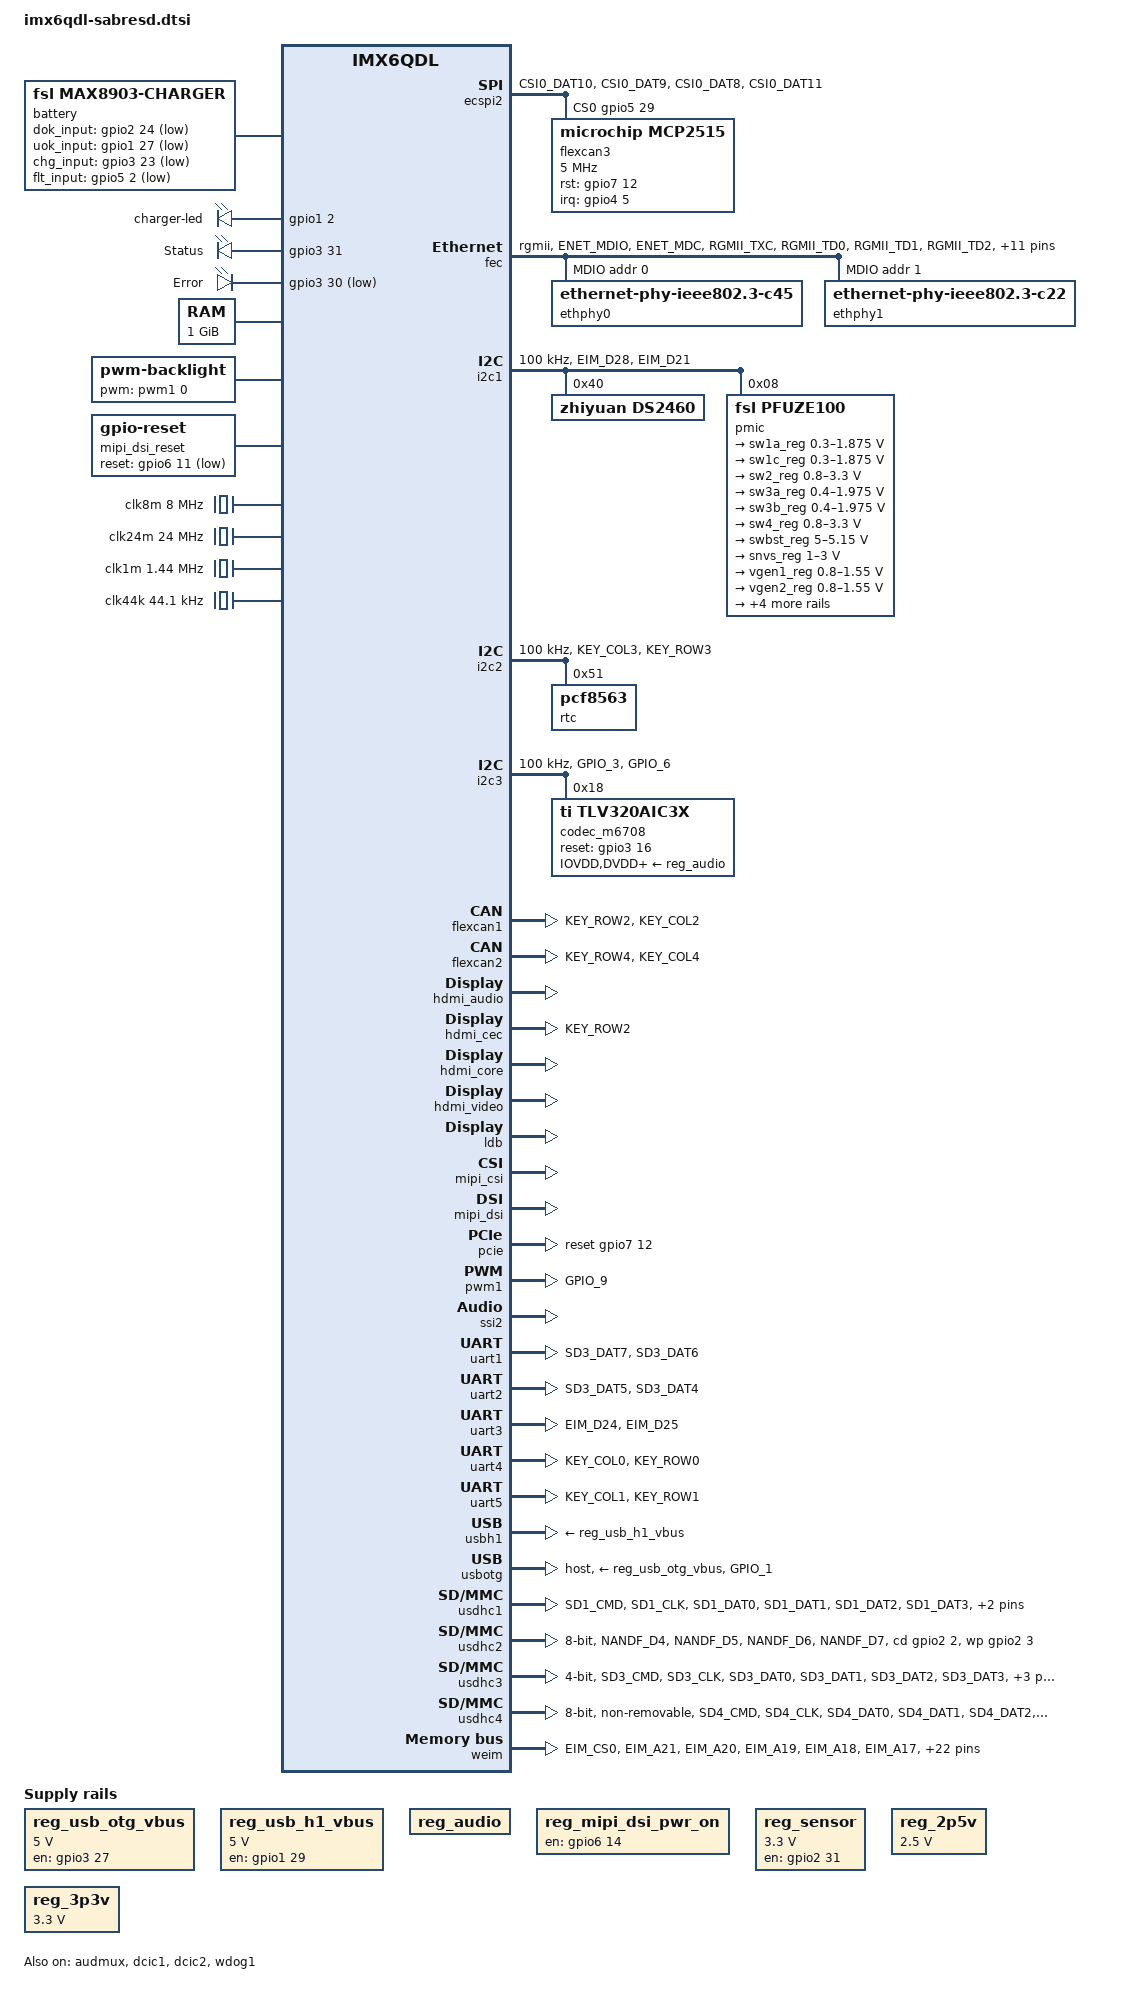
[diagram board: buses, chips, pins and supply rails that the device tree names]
/*
 * Copyright 2012 Freescale Semiconductor, Inc.
 * Copyright 2011 Linaro Ltd.
 *
 * The code contained herein is licensed under the GNU General Public
 * License. You may obtain a copy of the GNU General Public License
 * Version 2 or later at the following locations:
 *
 * http://www.opensource.org/licenses/gpl-license.html
 * http://www.gnu.org/copyleft/gpl.html
 */

#include <dt-bindings/input/input.h>

/ {
	aliases {
		mxcfb0 = &mxcfb1;
		mxcfb1 = &mxcfb2;
		mxcfb2 = &mxcfb3;
		mxcfb3 = &mxcfb4;
	};

	battery: max8903@0 {
		compatible = "fsl,max8903-charger";
		pinctrl-names = "default";
		dok_input = <&gpio2 24 1>;
		uok_input = <&gpio1 27 1>;
		chg_input = <&gpio3 23 1>;
		flt_input = <&gpio5 2 1>;
		fsl,dcm_always_high;
		fsl,dc_valid;
		fsl,usb_valid;
		status = "okay";
	};

	leds {
		compatible = "gpio-leds";

		charger-led {
			gpios = <&gpio1 2 0>;
			linux,default-trigger = "max8903-charger-charging";
			retain-state-suspended;
		};

		system-led {
			label = "Status";
			gpios = <&gpio3 31 0>;
			linux,default-trigger = "heartbeat";
		};

		error-led {
			label = "Error";
			gpios = <&gpio3 30 1>;
			linux,default-status = "default-on";
		};
	};

	memory {
		reg = <0x10000000 0x40000000>;
	};

	regulators {
		compatible = "simple-bus";
		#address-cells = <1>;
		#size-cells = <0>;

		reg_usb_otg_vbus: regulator@0 {
			compatible = "regulator-fixed";
			reg = <0>;
			regulator-name = "usb_otg_vbus";
			regulator-min-microvolt = <5000000>;
			regulator-max-microvolt = <5000000>;
			gpio = <&gpio3 27 0>;
			enable-active-high;
		};

		reg_usb_h1_vbus: regulator@1 {
			compatible = "regulator-fixed";
			reg = <1>;
			regulator-name = "usb_h1_vbus";
			regulator-min-microvolt = <5000000>;
			regulator-max-microvolt = <5000000>;
			gpio = <&gpio1 29 0>;
			enable-active-high;
		};

		reg_audio: regulator@2 {
			compatible = "regulator-fixed";
			reg = <2>;
			regulator-name = "tlv320aic3x-supply";
			enable-active-high;
		};

		reg_mipi_dsi_pwr_on: mipi_dsi_pwr_on {
			compatible = "regulator-fixed";
			regulator-name = "mipi_dsi_pwr_on";
			gpio = <&gpio6 14 0>;
			enable-active-high;
		};

		reg_sensor: regulator@3 {
			compatible = "regulator-fixed";
			reg = <3>;
			regulator-name = "sensor-supply";
			regulator-min-microvolt = <3300000>;
			regulator-max-microvolt = <3300000>;
			gpio = <&gpio2 31 0>;
			startup-delay-us = <500>;
			enable-active-high;
		};

		reg_2p5v: regulator@4 {
			  compatible = "regulator-fixed";
			  reg = <4>;
			  regulator-name = "2P5V";
			  regulator-min-microvolt = <2500000>;
			  regulator-max-microvolt = <2500000>;
			  regulator-always-on;
		};

		reg_3p3v: regulator@5 {
			  compatible = "regulator-fixed";
			  reg = <5>;
			  regulator-name = "3P3V";
			  regulator-min-microvolt = <3300000>;
			  regulator-max-microvolt = <3300000>;
			  regulator-always-on;
		};

	};

	sound {
		compatible = "fsl,imx-audio-tlv320aic3x";
		model = "tlv320aic3x-audio";
		cpu-dai = <&ssi2>;
		audio-codec = <&codec_m6708>;
		audio-routing =
			"Headphone Jack", "HPLOUT", 
			"Headphone Jack", "HPROUT";
		mux-int-port = <2>;
		mux-ext-port = <3>;
		//mic-det-gpios = <&gpio1 14 GPIO_ACTIVE_LOW>;
		status = "okay";
	};

	sound-hdmi {
		compatible = "fsl,imx6q-audio-hdmi",
			     "fsl,imx-audio-hdmi";
		model = "imx-audio-hdmi";
		hdmi-controller = <&hdmi_audio>;
	};

	mxcfb1: fb@0 {
		compatible = "fsl,mxc_sdc_fb";
		disp_dev = "ldb";
		interface_pix_fmt = "RGB666";
		mode_str ="CLAA-WVGA";
		default_bpp = <18>;
		int_clk = <0>;
		late_init = <0>;
		status = "okay";
	};

	mxcfb2: fb@1 {
		compatible = "fsl,mxc_sdc_fb";
		disp_dev = "hdmi";
		interface_pix_fmt = "RGB666";
		mode_str ="CLAA-WVGA";
		default_bpp = <18>;
		int_clk = <0>;
		late_init = <0>;
		status = "disabled";
	};

	mxcfb3: fb@2 {
		compatible = "fsl,mxc_sdc_fb";
		disp_dev = "lcd";
		interface_pix_fmt = "RGB666";
		mode_str ="CLAA-WVGA";
		default_bpp = <18>;
		int_clk = <0>;
		late_init = <0>;
		status = "disabled";
	};

	mxcfb4: fb@3 {
		compatible = "fsl,mxc_sdc_fb";
		disp_dev = "ldb";
		interface_pix_fmt = "RGB666";
		mode_str ="CLAA-WVGA";
		default_bpp = <18>;
		int_clk = <0>;
		late_init = <0>;
		status = "disabled";
	};

	lcd@0 {
		compatible = "fsl,lcd";
		ipu_id = <0>;
		disp_id = <0>;
		default_ifmt = "RGB666";
		pinctrl-names = "default";
		pinctrl-0 = <&pinctrl_ipu1>;
		status = "okay";
	};

	backlight {
		compatible = "pwm-backlight";
		pwms = <&pwm1 0 5000000>;
		brightness-levels = <0 4 8 16 32 64 128 255>;
		default-brightness-level = <7>;
		status = "okay";
	};

	/*
	buzzer {
		compatible = "pwm-beeper";
		pwms = <&pwm1 0 5000000 0>;
		status = "okay";
	};
	*/

	v4l2_cap_0 {
		compatible = "fsl,imx6q-v4l2-capture";
		ipu_id = <0>;
		csi_id = <0>;
		mclk_source = <0>;
		status = "okay";
	};

	v4l2_cap_1 {
		compatible = "fsl,imx6q-v4l2-capture";
		ipu_id = <0>;
		csi_id = <1>;
		mclk_source = <0>;
		status = "okay";
	};

	v4l2_out {
		compatible = "fsl,mxc_v4l2_output";
		status = "okay";
	};

	mipi_dsi_reset: mipi-dsi-reset {
		compatible = "gpio-reset";
		reset-gpios = <&gpio6 11 GPIO_ACTIVE_LOW>;
		reset-delay-us = <50>;
		#reset-cells = <0>;
	};
};

&audmux {
	pinctrl-names = "default";
	pinctrl-0 = <&pinctrl_audmux>;
	status = "okay";
};

&cpu0 {
	arm-supply = <&sw1a_reg>;
	soc-supply = <&sw1c_reg>;
};

&ecspi2 {
	fsl,spi-num-chipselects = <1>;
	cs-gpios = <&gpio5 29 0>;
	pinctrl-names = "default";
	pinctrl-0 = <&pinctrl_ecspi2>;
	interrupts = <0 32 IRQ_TYPE_EDGE_FALLING>;
	status = "okay";
	//dmas = <&sdma 43 1 0>,
	//       <&sdma 44 1 0>;
	//dma-names = "rx", "tx";
	flexcan3: can@0 {
		reg = <0>;      /* CS0 */
		compatible = "microchip,mcp2515";
		clocks = <&clk8m>;
		//interrupt-parent = <&gpio4>;
		//interrupts = <0 5 IRQ_TYPE_LEVEL_HIGH>;
		interrupts-extended = <&gpio4 5 4>;
		spi-max-frequency = <5000000>;
		rst-gpios = <&gpio7 12 0>;
		status = "okay";
		//vdd-supply = <&reg_3p3v>;
		//xceiver-supply = <&reg_3p3v>;
	};
};
/{
	clocks {
       	/* Fixed crystal dedicated to mcp251x */
		clk8m: clk@1 {
			compatible = "fixed-clock";
			reg = <1>;
			#clock-cells = <0>;
			clock-frequency = <8000000>;
			clock-output-names = "clk8m";
		};
		clk24m: clk@2 {
			compatible = "fixed-clock";
			reg = <2>;
			#clock-cells = <0>;
			clock-frequency = <24000000>;
			clock-output-names = "clk24m";
		};
		clk1m: clk@3 {
			compatible = "fixed-clock";
			reg = <3>;
			#clock-cells = <0>;
			clock-frequency = <1440000>;
			clock-output-names = "clk1m";
		};
		clk44k: clk@4 {
			compatible = "fixed-clock";
			reg = <4>;
			#clock-cells = <0>;
			clock-frequency = <44100>;
			clock-output-names = "clk44k";
		};
		osc {
			compatible = "fsl,imx-osc", "fixed-clock", "mclk","bclk","wclk";
			status = "okay";
		};
	};
	soc{
		aips-bus@02000000 {
			clks: ccm@020c4000 {
				status = "okay";
			};
		};
	};
};
&fec {
	pinctrl-names = "default";
	pinctrl-0 = <&pinctrl_enet>;
	phy-mode = "rgmii";
	phy-reset-gpios = <&gpio1 25 0>;
	fsl,magic-packet;
	status = "okay";
      mdio {
                #address-cells = <1>;
                #size-cells = <0>;

              ethphy0: ethernet-phy@0 {
                        compatible = "ethernet-phy-ieee802.3-c45";
                        reg = <0>;
                };

                ethphy1: ethernet-phy@1 {
                        compatible = "ethernet-phy-ieee802.3-c22";
                        reg = <1>;
                };
        }; 
};

&i2c1 {
	clock-frequency = <100000>;
	pinctrl-names = "default";
	pinctrl-0 = <&pinctrl_i2c1>;
	status = "okay";

	ds2460@40{
		compatible = "zhiyuan,ds2460";
		reg = <0x40>;
	};

	pmic: pfuze100@08 {
		compatible = "fsl,pfuze100";
		reg = <0x08>;

		regulators {
			sw1a_reg: sw1ab {
				regulator-min-microvolt = <300000>;
				regulator-max-microvolt = <1875000>;
				regulator-boot-on;
				regulator-always-on;
				regulator-ramp-delay = <6250>;
			};

			sw1c_reg: sw1c {
				regulator-min-microvolt = <300000>;
				regulator-max-microvolt = <1875000>;
				regulator-boot-on;
				regulator-always-on;
				regulator-ramp-delay = <6250>;
			};

			sw2_reg: sw2 {
				regulator-min-microvolt = <800000>;
				regulator-max-microvolt = <3300000>;
				regulator-boot-on;
				regulator-always-on;
			};

			sw3a_reg: sw3a {
				regulator-min-microvolt = <400000>;
				regulator-max-microvolt = <1975000>;
				regulator-boot-on;
				regulator-always-on;
			};

			sw3b_reg: sw3b {
				regulator-min-microvolt = <400000>;
				regulator-max-microvolt = <1975000>;
				regulator-boot-on;
				regulator-always-on;
			};

			sw4_reg: sw4 {
				regulator-min-microvolt = <800000>;
				regulator-max-microvolt = <3300000>;
			};

			swbst_reg: swbst {
				regulator-min-microvolt = <5000000>;
				regulator-max-microvolt = <5150000>;
			};

			snvs_reg: vsnvs {
				regulator-min-microvolt = <1000000>;
				regulator-max-microvolt = <3000000>;
				regulator-boot-on;
				regulator-always-on;
			};

			vref_reg: vrefddr {
				regulator-boot-on;
				regulator-always-on;
			};

			vgen1_reg: vgen1 {
				regulator-min-microvolt = <800000>;
				regulator-max-microvolt = <1550000>;
			};

			vgen2_reg: vgen2 {
				regulator-min-microvolt = <800000>;
				regulator-max-microvolt = <1550000>;
			};

			vgen3_reg: vgen3 {
				regulator-min-microvolt = <1800000>;
				regulator-max-microvolt = <3300000>;
			};

			vgen4_reg: vgen4 {
				regulator-min-microvolt = <1800000>;
				regulator-max-microvolt = <3300000>;
				regulator-always-on;
			};

			vgen5_reg: vgen5 {
				regulator-min-microvolt = <1800000>;
				regulator-max-microvolt = <3300000>;
				regulator-always-on;
			};

			vgen6_reg: vgen6 {
				regulator-min-microvolt = <1800000>;
				regulator-max-microvolt = <3300000>;
				regulator-always-on;
			};
		};
	};

};

&i2c2 {
	clock-frequency = <100000>;
	pinctrl-names = "default";
	pinctrl-0 = <&pinctrl_i2c2>;
	status = "okay";

	rtc@51{
		compatible = "pcf8563";
		reg = <0x51>;
	};

};

&i2c3 {
	clock-frequency = <100000>;
	pinctrl-names = "default";
	pinctrl-0 = <&pinctrl_i2c3>;
	status = "okay";



	/*imx307_mipi: imx307_mipi@6c {
		compatible = "sony,imx307_mipi"; 
		reg = <0x6c>; 
		clocks = <&clks IMX6QDL_CLK_CKO>;
		clock-names = "csi_mclk"; 
		DOVDD-supply = <&vgen4_reg>;
		AVDD-supply = <&vgen3_reg>; 
		DVDD-supply = <&vgen2_reg>;  
		pwn-gpios = <&gpio1 14 0>; 
		rst-gpios = <&gpio1 5 0>;  
		csi_id = <1>; 
		mclk = <24000000>; 
		mclk_source = <0>; 
	};*/
	
	/*adv7180: adv7180@20 {
        compatible = "adv7180";
        reg = <0x20>;
        pinctrl-names = "default";
        pinctrl-0 = <&pinctrl_ipu1_2>;
        clocks = <&clks IMX6QDL_CLK_CKO>;
        clock-names = "csi_mclk";
        pwn-gpios = <&gpio3 1 0>;
        csi_id = <0>;
        mclk = <24000000>;
        mclk_source = <0>;
        cvbs = <1>;
	};*/

	codec_m6708: tlc320aic3x@18 {
	   compatible = "ti,tlv320aic3x";
	   reg = <0x18>;
	   clocks = <&clks IMX6QDL_CLK_CKO>;
	   reset-gpios = <&gpio3 16 0>;
	   IOVDD-supply = <&reg_audio>;
	   DVDD-supply = <&reg_audio>;
	   AVDD-supply = <&reg_audio>;
	   DRVDD-supply = <&reg_audio>;
	};

	

	/*hdmi: edid@50 {
		compatible = "fsl,imx6-hdmi-i2c";
		reg = <0x50>;
	};
	max17135@48 {
		compatible = "maxim,max17135";
		reg = <0x48>;
		vneg_pwrup = <0x1>;
		gvee_pwrup = <0x1>;
		vpos_pwrup = <0x2>;
		gvdd_pwrup = <0x1>;
		gvdd_pwrdn = <0x1>;
		vpos_pwrdn = <0x2>;
		gvee_pwrdn = <0x1>;
		vneg_pwrdn = <0x1>;
		SENSOR-supply = <0x2c>;
		gpio_pmic_pwrgood = <0x24 0x15 0x0>;
		gpio_pmic_vcom_ctrl = <0x4 0x11 0x0>;
		gpio_pmic_wakeup = <0x4 0x14 0x0>;
		gpio_pmic_v3p3 = <0x24 0x14 0x0>;
		gpio_pmic_intr = <0x24 0x19 0x0>;

		regulators {

			DISPLAY {
				regulator-name = "DISPLAY";
			};

			GVDD {
				regulator-name = "GVDD";
			};

			GVEE {
				regulator-name = "GVEE";
			};

			HVINN {
				regulator-name = "HVINN";
			};

			HVINP {
				regulator-name = "HVINP";
			};

			VCOM {
				regulator-name = "VCOM";
				regulator-min-microvolt = <0xffbe0178>;
				regulator-max-microvolt = <0xfff85ee0>;
			};

			VNEG {
				regulator-name = "VNEG";
			};

			VPOS {
				regulator-name = "VPOS";
			};

			V3P3 {
				regulator-name = "V3P3";
			};
		};
	};*/
};

&iomuxc {
	pinctrl-names = "default";
	pinctrl-0 = <&pinctrl_hog>;

	imx6qdl-sabresd {
		pinctrl_hog: hoggrp {
			fsl,pins = <
				MX6QDL_PAD_NANDF_D0__GPIO2_IO00 0x80000000
				MX6QDL_PAD_NANDF_D1__GPIO2_IO01 0x80000000
				MX6QDL_PAD_NANDF_D2__GPIO2_IO02 0x80000000
				MX6QDL_PAD_NANDF_D3__GPIO2_IO03 0x80000000
				/* MX6QDL_PAD_GPIO_0__CCM_CLKO1    0x130b0 */
				MX6QDL_PAD_GPIO_0__CCM_CLKO1    0x130b0
				MX6QDL_PAD_NANDF_CLE__GPIO6_IO07 0x80000000
				MX6QDL_PAD_NANDF_ALE__GPIO6_IO08 0x80000000
				MX6QDL_PAD_ENET_TXD1__GPIO1_IO29 0x80000000
				/*MX6QDL_PAD_EIM_D22__GPIO3_IO22  0x80000000*/
				MX6QDL_PAD_ENET_CRS_DV__GPIO1_IO25 0x80000000
				/*MX6QDL_PAD_EIM_D26__GPIO3_IO26 0x80000000*/
				/*MX6QDL_PAD_EIM_CS1__GPIO2_IO24 0x80000000*/
				MX6QDL_PAD_ENET_RXD0__GPIO1_IO27 0x80000000
				MX6QDL_PAD_EIM_A25__GPIO5_IO02 0x80000000
				
				MX6QDL_PAD_EIM_EB3__GPIO2_IO31 0x80000000
				/* MX6QDL_PAD_SD1_CMD__GPIO1_IO18 0x80000000 */
				MX6QDL_PAD_EIM_D16__GPIO3_IO16 0x80000000
				MX6QDL_PAD_SD3_RST__GPIO7_IO08	0x80000000
				/* MX6QDL_PAD_GPIO_9__GPIO1_IO09 0x80000000 */
				/*MX6QDL_PAD_EIM_DA9__GPIO3_IO09 0x80000000 */
				/* MX6QDL_PAD_GPIO_1__WDOG2_B 0x80000000 */
				MX6QDL_PAD_NANDF_CS0__GPIO6_IO11 0x80000000
				MX6QDL_PAD_NANDF_CS1__GPIO6_IO14 0x80000000
				MX6QDL_PAD_EIM_D31__GPIO3_IO31 0x80000000
				MX6QDL_PAD_EIM_D30__GPIO3_IO30 0x80000000
				MX6QDL_PAD_EIM_D20__GPIO3_IO20 0x80000000
				/*MX6QDL_PAD_GPIO_0__GPIO1_IO00  0x80000000*/
				MX6QDL_PAD_EIM_D18__GPIO3_IO18	0x80000000
				MX6QDL_PAD_SD2_CLK__GPIO1_IO10	0x80000000
				MX6QDL_PAD_SD2_DAT2__GPIO1_IO13	0x80000000
				MX6QDL_PAD_SD2_CMD__GPIO1_IO11 	0x80000000
				MX6QDL_PAD_EIM_D17__GPIO3_IO17	0x80000000
				MX6QDL_PAD_EIM_D19__GPIO3_IO19  0x80000000
				MX6QDL_PAD_EIM_D22__GPIO3_IO22	0x80000000
				MX6QDL_PAD_EIM_D26__GPIO3_IO26  0x80000000

					
				MX6QDL_PAD_EIM_A22__GPIO2_IO16 0x80000000
				MX6QDL_PAD_EIM_A23__GPIO6_IO06 0x80000000
				MX6QDL_PAD_EIM_A24__GPIO5_IO04 0x80000000
				MX6QDL_PAD_GPIO_5__GPIO1_IO05  0x80000000
				MX6QDL_PAD_NANDF_CS2__GPIO6_IO15  0x80000000
				MX6QDL_PAD_GPIO_19__GPIO4_IO05  0x80000000
				//MX6QDL_PAD_CSI0_MCLK__GPIO5_IO19 0x80000000
				MX6QDL_PAD_EIM_D27__GPIO3_IO27  0x80000000

				MX6QDL_PAD_GPIO_17__GPIO7_IO12  0x80000000

			>;
		};

		pinctrl_audmux: audmuxgrp {
			fsl,pins = <
				
				MX6QDL_PAD_CSI0_DAT7__AUD3_RXD		0x130b0
				MX6QDL_PAD_CSI0_DAT4__AUD3_TXC		0x130b0
				MX6QDL_PAD_CSI0_DAT5__AUD3_TXD		0x110b0
				MX6QDL_PAD_CSI0_DAT6__AUD3_TXFS		0x130b0
			>;
		};
		/*pinctrl_tlv: tlvgrp {
			fsl,pins = <
				MX6QDL_PAD_CSI0_MCLK__CCM_CLKO1		0x130b0
			>;
		};*/


		pinctrl_ecspi2: ecspi2grp {
			fsl,pins = <
				MX6QDL_PAD_CSI0_DAT10__ECSPI2_MISO	0x100b1
				MX6QDL_PAD_CSI0_DAT9__ECSPI2_MOSI	0x100b1
				MX6QDL_PAD_CSI0_DAT8__ECSPI2_SCLK	0x100b1
				MX6QDL_PAD_CSI0_DAT11__GPIO5_IO29       0x80000000
			>;
		};

		pinctrl_enet: enetgrp {
			fsl,pins = <
				MX6QDL_PAD_ENET_MDIO__ENET_MDIO		0x1b0b0
				MX6QDL_PAD_ENET_MDC__ENET_MDC		0x1b0b0
				MX6QDL_PAD_RGMII_TXC__RGMII_TXC		0x1b0b0
				MX6QDL_PAD_RGMII_TD0__RGMII_TD0		0x1b0b0
				MX6QDL_PAD_RGMII_TD1__RGMII_TD1		0x1b0b0
				MX6QDL_PAD_RGMII_TD2__RGMII_TD2		0x1b0b0
				MX6QDL_PAD_RGMII_TD3__RGMII_TD3		0x1b0b0
				MX6QDL_PAD_RGMII_TX_CTL__RGMII_TX_CTL	0x1b0b0
				MX6QDL_PAD_ENET_REF_CLK__ENET_TX_CLK	0x1b0b0
				MX6QDL_PAD_RGMII_RXC__RGMII_RXC		0x1b0b0
				MX6QDL_PAD_RGMII_RD0__RGMII_RD0		0x1b0b0
				MX6QDL_PAD_RGMII_RD1__RGMII_RD1		0x1b0b0
				MX6QDL_PAD_RGMII_RD2__RGMII_RD2		0x1b0b0
				MX6QDL_PAD_RGMII_RD3__RGMII_RD3		0x1b0b0
				MX6QDL_PAD_RGMII_RX_CTL__RGMII_RX_CTL	0x1b0b0
				MX6QDL_PAD_GPIO_16__ENET_REF_CLK	0x4001b0a8
			>;
		};

		pinctrl_enet_irq: enetirqgrp {
			fsl,pins = <
				MX6QDL_PAD_GPIO_6__ENET_IRQ		0x000b1
			>;
		};

		pinctrl_flexcan1: flexcan1grp {
			fsl,pins = <
				MX6QDL_PAD_KEY_ROW2__FLEXCAN1_RX        0x80000000
				MX6QDL_PAD_KEY_COL2__FLEXCAN1_TX        0x80000000
			>;
		};

		pinctrl_flexcan2: flexcan2grp {
			fsl,pins = <
				MX6QDL_PAD_KEY_ROW4__FLEXCAN2_RX        0x80000000
				MX6QDL_PAD_KEY_COL4__FLEXCAN2_TX        0x80000000
			>;
		};

		pinctrl_hdmi_cec: hdmicecgrp {
			fsl,pins = <
				MX6QDL_PAD_KEY_ROW2__HDMI_TX_CEC_LINE 0x1f8b0
			>;
		};

		pinctrl_hdmi_hdcp: hdmihdcpgrp {
			fsl,pins = <
				MX6QDL_PAD_KEY_COL3__HDMI_TX_DDC_SCL 0x4001b8b1
				MX6QDL_PAD_KEY_ROW3__HDMI_TX_DDC_SDA 0x4001b8b1
			>;
		};

		pinctrl_i2c1: i2c1grp {
			fsl,pins = <
				//MX6QDL_PAD_CSI0_DAT8__I2C1_SDA		0x4001b8b1
				//MX6QDL_PAD_CSI0_DAT9__I2C1_SCL		0x4001b8b1
				MX6QDL_PAD_EIM_D28__I2C1_SDA	0x4001b8b1
				MX6QDL_PAD_EIM_D21__I2C1_SCL	0x4001b8b1
			>;
		};

		pinctrl_i2c2: i2c2grp {
			fsl,pins = <
				MX6QDL_PAD_KEY_COL3__I2C2_SCL		0x4001b8b1
				MX6QDL_PAD_KEY_ROW3__I2C2_SDA		0x4001b8b1
				//MX6QDL_PAD_EIM_D27__GPIO3_IO27		0x80000000
			 >;
		};

		pinctrl_i2c3: i2c3grp {
			fsl,pins = <
				MX6QDL_PAD_GPIO_3__I2C3_SCL		0x4001b8b1
				MX6QDL_PAD_GPIO_6__I2C3_SDA		0x4001b8b1
			>;
		};

		pinctrl_ipu1: ipu1grp {
			fsl,pins = <
				MX6QDL_PAD_DI0_DISP_CLK__IPU1_DI0_DISP_CLK 0x10
				MX6QDL_PAD_DI0_PIN15__IPU1_DI0_PIN15       0x10
				MX6QDL_PAD_DI0_PIN2__IPU1_DI0_PIN02        0x10
				MX6QDL_PAD_DI0_PIN3__IPU1_DI0_PIN03        0x10
				MX6QDL_PAD_DI0_PIN4__IPU1_DI0_PIN04        0x80000000
				MX6QDL_PAD_DISP0_DAT0__IPU1_DISP0_DATA00   0x10
				MX6QDL_PAD_DISP0_DAT1__IPU1_DISP0_DATA01   0x10
				MX6QDL_PAD_DISP0_DAT2__IPU1_DISP0_DATA02   0x10
				MX6QDL_PAD_DISP0_DAT3__IPU1_DISP0_DATA03   0x10
				MX6QDL_PAD_DISP0_DAT4__IPU1_DISP0_DATA04   0x10
				MX6QDL_PAD_DISP0_DAT5__IPU1_DISP0_DATA05   0x10
				MX6QDL_PAD_DISP0_DAT6__IPU1_DISP0_DATA06   0x10
				MX6QDL_PAD_DISP0_DAT7__IPU1_DISP0_DATA07   0x10
				MX6QDL_PAD_DISP0_DAT8__IPU1_DISP0_DATA08   0x10
				MX6QDL_PAD_DISP0_DAT9__IPU1_DISP0_DATA09   0x10
				MX6QDL_PAD_DISP0_DAT10__IPU1_DISP0_DATA10  0x10
				MX6QDL_PAD_DISP0_DAT11__IPU1_DISP0_DATA11  0x10
				MX6QDL_PAD_DISP0_DAT12__IPU1_DISP0_DATA12  0x10
				MX6QDL_PAD_DISP0_DAT13__IPU1_DISP0_DATA13  0x10
				MX6QDL_PAD_DISP0_DAT14__IPU1_DISP0_DATA14  0x10
				MX6QDL_PAD_DISP0_DAT15__IPU1_DISP0_DATA15  0x10
				MX6QDL_PAD_DISP0_DAT16__IPU1_DISP0_DATA16  0x10
				MX6QDL_PAD_DISP0_DAT17__IPU1_DISP0_DATA17  0x10
				MX6QDL_PAD_DISP0_DAT18__IPU1_DISP0_DATA18  0x10
				MX6QDL_PAD_DISP0_DAT19__IPU1_DISP0_DATA19  0x10
				MX6QDL_PAD_DISP0_DAT20__IPU1_DISP0_DATA20  0x10
				MX6QDL_PAD_DISP0_DAT21__IPU1_DISP0_DATA21  0x10
				MX6QDL_PAD_DISP0_DAT22__IPU1_DISP0_DATA22  0x10
				MX6QDL_PAD_DISP0_DAT23__IPU1_DISP0_DATA23  0x10
			>;
		};

		pinctrl_ipu1_2: ipu1grp-2 { /* parallel camera */
			fsl,pins = <
				MX6QDL_PAD_CSI0_DAT12__IPU1_CSI0_DATA12    0x80000000
				MX6QDL_PAD_CSI0_DAT13__IPU1_CSI0_DATA13    0x80000000
				MX6QDL_PAD_CSI0_DAT14__IPU1_CSI0_DATA14    0x80000000
				MX6QDL_PAD_CSI0_DAT15__IPU1_CSI0_DATA15    0x80000000
				MX6QDL_PAD_CSI0_DAT16__IPU1_CSI0_DATA16    0x80000000
				MX6QDL_PAD_CSI0_DAT17__IPU1_CSI0_DATA17    0x80000000
				MX6QDL_PAD_CSI0_DAT18__IPU1_CSI0_DATA18    0x80000000
				MX6QDL_PAD_CSI0_DAT19__IPU1_CSI0_DATA19    0x80000000
				MX6QDL_PAD_CSI0_DATA_EN__IPU1_CSI0_DATA_EN 0x80000000
				MX6QDL_PAD_CSI0_PIXCLK__IPU1_CSI0_PIXCLK   0x80000000
				//MX6QDL_PAD_GPIO_0__CCM_CLKO1			0x80000000
				//MX6QDL_PAD_CSI0_MCLK__IPU1_CSI0_HSYNC      0x80000000
				MX6QDL_PAD_CSI0_VSYNC__IPU1_CSI0_VSYNC     0x80000000
			>;
		};

		pinctrl_pwm1: pwm1grp {
			fsl,pins = <
				MX6QDL_PAD_GPIO_9__PWM1_OUT		0x1b0b1
			>;
		};

		pinctrl_uart1: uart1grp {
			fsl,pins = <
				MX6QDL_PAD_SD3_DAT7__UART1_TX_DATA	0x1b0b1
				MX6QDL_PAD_SD3_DAT6__UART1_RX_DATA	0x1b0b1
			>;
		};

		pinctrl_uart2: uart2grp {
			fsl,pins = <
				MX6QDL_PAD_SD3_DAT5__UART2_TX_DATA	0x1b0b1
				MX6QDL_PAD_SD3_DAT4__UART2_RX_DATA	0x1b0b1
			>;
		};

		pinctrl_uart3: uart3grp {
			fsl,pins = <
				MX6QDL_PAD_EIM_D24__UART3_TX_DATA	0x1b0b1
				MX6QDL_PAD_EIM_D25__UART3_RX_DATA	0x1b0b1
			>;
		};

		pinctrl_uart4: uart4grp {
			fsl,pins = <
				MX6QDL_PAD_KEY_COL0__UART4_TX_DATA	0x1b0b1
				MX6QDL_PAD_KEY_ROW0__UART4_RX_DATA	0x1b0b1
			>;
		};

		pinctrl_uart5_1: uart5grp-1 {
			fsl,pins = <
				MX6QDL_PAD_KEY_COL1__UART5_TX_DATA	0x1b0b1
				MX6QDL_PAD_KEY_ROW1__UART5_RX_DATA	0x1b0b1
			>;
		};

		pinctrl_uart5dte_1: uart5dtegrp-1 {
			fsl,pins = <
				MX6QDL_PAD_KEY_ROW1__UART5_TX_DATA	0x1b0b1
				MX6QDL_PAD_KEY_COL1__UART5_RX_DATA	0x1b0b1
				MX6QDL_PAD_KEY_ROW4__UART5_RTS_B	0x1b0b1
				MX6QDL_PAD_KEY_COL4__UART5_CTS_B	0x1b0b1
			>;
		};

		pinctrl_usbotg: usbotggrp {
			fsl,pins = <
				/*MX6QDL_PAD_ENET_RX_ER__USB_OTG_ID	0x17059*/
				MX6QDL_PAD_GPIO_1__USB_OTG_ID 		0x17059
			>;
		};

		pinctrl_usdhc1: usdhc1grp {
			fsl,pins = <
				MX6QDL_PAD_SD1_CMD__SD1_CMD     	0x17059
				MX6QDL_PAD_SD1_CLK__SD1_CLK     	0x10059
				MX6QDL_PAD_SD1_DAT0__SD1_DATA0      0x17059
				MX6QDL_PAD_SD1_DAT1__SD1_DATA1      0x17059
				MX6QDL_PAD_SD1_DAT2__SD1_DATA2      0x17059
				MX6QDL_PAD_SD1_DAT3__SD1_DATA3      0x17059
				MX6QDL_PAD_SD2_DAT1__GPIO1_IO14		0x80000000
				MX6QDL_PAD_SD2_DAT3__GPIO1_IO12		0x80000000
			>;
		};

		pinctrl_usdhc2: usdhc2grp {
			fsl,pins = <
				/* MX6QDL_PAD_SD2_CMD__SD2_CMD		0x17059 */
				/* MX6QDL_PAD_SD2_CLK__SD2_CLK		0x10059 */
				/* MX6QDL_PAD_SD2_DAT0__SD2_DATA0		0x17059 */
				/* MX6QDL_PAD_SD2_DAT1__SD2_DATA1		0x17059 */
				/* MX6QDL_PAD_SD2_DAT2__SD2_DATA2		0x17059 */
				/* MX6QDL_PAD_SD2_DAT3__SD2_DATA3		0x17059 */
				MX6QDL_PAD_NANDF_D4__SD2_DATA4		0x17059
				MX6QDL_PAD_NANDF_D5__SD2_DATA5		0x17059
				MX6QDL_PAD_NANDF_D6__SD2_DATA6		0x17059
				MX6QDL_PAD_NANDF_D7__SD2_DATA7		0x17059
			>;
		};

		pinctrl_usdhc3: usdhc3grp {
			fsl,pins = <
				MX6QDL_PAD_SD3_CMD__SD3_CMD		0x17059
				MX6QDL_PAD_SD3_CLK__SD3_CLK		0x10059
				MX6QDL_PAD_SD3_DAT0__SD3_DATA0		0x17059
				MX6QDL_PAD_SD3_DAT1__SD3_DATA1		0x17059
				MX6QDL_PAD_SD3_DAT2__SD3_DATA2		0x17059
				MX6QDL_PAD_SD3_DAT3__SD3_DATA3		0x17059
				//MX6QDL_PAD_GPIO_17__GPIO7_IO12		0x80000000
				MX6QDL_PAD_GPIO_18__GPIO7_IO13		0x80000000
			>;
		};

		pinctrl_usdhc4: usdhc4grp {
			fsl,pins = <
				MX6QDL_PAD_SD4_CMD__SD4_CMD		0x1F059
				MX6QDL_PAD_SD4_CLK__SD4_CLK		0x10059
				MX6QDL_PAD_SD4_DAT0__SD4_DATA0		0x1F059
				MX6QDL_PAD_SD4_DAT1__SD4_DATA1		0x1F059
				MX6QDL_PAD_SD4_DAT2__SD4_DATA2		0x1F059
				MX6QDL_PAD_SD4_DAT3__SD4_DATA3		0x1F059
				MX6QDL_PAD_SD4_DAT4__SD4_DATA4		0x1F059
				MX6QDL_PAD_SD4_DAT5__SD4_DATA5		0x1F059
				MX6QDL_PAD_SD4_DAT6__SD4_DATA6		0x1F059
				MX6QDL_PAD_SD4_DAT7__SD4_DATA7		0x1F059
			>;
		};

		pinctrl_weim_cs0: weimcs0grp {
			fsl,pins = <
				MX6QDL_PAD_EIM_CS0__EIM_CS0_B       0xb0b1
			>;
		};

		pinctrl_weim_phy: weimphygrp {
			fsl,pins = <
				/* Adrress */
				MX6QDL_PAD_EIM_A21__EIM_ADDR21      0xb0b1
				MX6QDL_PAD_EIM_A20__EIM_ADDR20      0xb0b1
				MX6QDL_PAD_EIM_A19__EIM_ADDR19      0xb0b1
				MX6QDL_PAD_EIM_A18__EIM_ADDR18      0xb0b1
				MX6QDL_PAD_EIM_A17__EIM_ADDR17      0xb0b1
				MX6QDL_PAD_EIM_A16__EIM_ADDR16      0xb0b1
				/* Date */
				MX6QDL_PAD_EIM_DA15__EIM_AD15       0xb0b1
				MX6QDL_PAD_EIM_DA14__EIM_AD14       0xb0b1
				MX6QDL_PAD_EIM_DA13__EIM_AD13       0xb0b1
				MX6QDL_PAD_EIM_DA12__EIM_AD12       0xb0b1
				MX6QDL_PAD_EIM_DA11__EIM_AD11       0xb0b1
				MX6QDL_PAD_EIM_DA10__EIM_AD10       0xb0b1
				MX6QDL_PAD_EIM_DA9__EIM_AD09        0xb0b1
				MX6QDL_PAD_EIM_DA8__EIM_AD08        0xb0b1
				MX6QDL_PAD_EIM_DA7__EIM_AD07        0xb0b1
				MX6QDL_PAD_EIM_DA6__EIM_AD06        0xb0b1
				MX6QDL_PAD_EIM_DA5__EIM_AD05        0xb0b1
				MX6QDL_PAD_EIM_DA4__EIM_AD04        0xb0b1
				MX6QDL_PAD_EIM_DA3__EIM_AD03        0xb0b1
				MX6QDL_PAD_EIM_DA2__EIM_AD02        0xb0b1
				MX6QDL_PAD_EIM_DA1__EIM_AD01        0xb0b1
				MX6QDL_PAD_EIM_DA0__EIM_AD00        0xb0b1
				/* Read enable */
				MX6QDL_PAD_EIM_OE__EIM_OE_B         0xb0b1
				/* Write enable */
				MX6QDL_PAD_EIM_RW__EIM_RW           0xb0b1
				/* phy interrupt pin */
				MX6QDL_PAD_EIM_CS1__GPIO2_IO24      0x80000000
				/* phy Reset pin */
				MX6QDL_PAD_EIM_D23__GPIO3_IO23      0x80000000
			>;
		};
	};
};

&dcic1 {
	dcic_id = <0>;
	dcic_mux = "dcic-hdmi";
	status = "okay";
};

&dcic2 {
	dcic_id = <1>;
	dcic_mux = "dcic-lvds1";
	status = "okay";
};

&gpc {
	/* use ldo-bypass, u-boot will check it and configure */
	fsl,ldo-bypass = <1>;
	fsl,wdog-reset = <1>;
};

&flexcan1 {
	pinctrl-names = "default";
	pinctrl-0 = <&pinctrl_flexcan1>;
	status = "okay";
};

&flexcan2 {
	pinctrl-names = "default";
	pinctrl-0 = <&pinctrl_flexcan2>;
	status = "okay";
};

&hdmi_audio {
	status = "okay";
};

&hdmi_cec {
	pinctrl-names = "default";
	pinctrl-0 = <&pinctrl_hdmi_cec>;
	status = "okay";
};

&hdmi_core {
	ipu_id = <0>;
	disp_id = <1>;
	status = "okay";
};

&hdmi_video {
	fsl,phy_reg_vlev = <0x0294>;
	fsl,phy_reg_cksymtx = <0x800d>;
	status = "okay";
};
/*
&ldb {
	status = "okay";
	dual-mode = <1>;
	lvds-channel@0 {
		fsl,data-mapping = "spwg";
		fsl,data-width = <18>;
		primary;
		status = "okay";

		display-timings {
			native-mode = <&timing0>;
			timing0: hsd100pxn1 {
				clock-frequency = <600000000>;
				hactive = <800>;
				vactive = <600>;
				hback-porch = <88>;
				hfront-porch = <88>;
				vback-porch = <15>;
				vfront-porch = <2>;
				hsync-len = <44>;
				vsync-len = <5>;
			};
		};
	};

	lvds-channel@1 {
		fsl,data-mapping = "spwg";
		fsl,data-width = <18>;
		//primary;
		status = "okay";

		display-timings {
			native-mode = <&timing1>;
			timing1: hsd100pxn1 {
				clock-frequency = <115740000>;
				hactive = <800>;
				vactive = <600>;
				hback-porch = <88>;
				hfront-porch = <88>;
				vback-porch = <15>;
				vfront-porch = <2>;
				hsync-len = <44>;
				vsync-len = <5>;
			};
		};
	};
};
*/
&ldb {
	status = "okay";
	split-mode = <2>;
	lvds-channel@0 {
		fsl,data-mapping = "spwg";
		fsl,data-width = <24>;
		primary;
		status = "okay";

		display-timings {
			native-mode = <&timing0>;
			timing0: hsd100pxn1 {
				clock-frequency = <144000000>;
				hactive = <1920>;
				vactive = <1080>;
				hback-porch = <148>;
				hfront-porch = <88>;
				vback-porch = <15>;
				vfront-porch = <2>;
				hsync-len = <44>;
				vsync-len = <5>;
			};
		};
	};

	lvds-channel@1 {
		fsl,data-mapping = "spwg";
		fsl,data-width = <24>;
		//primary;
		status = "okay";

		display-timings {
			native-mode = <&timing1>;
			timing1: hsd100pxn1 {
				clock-frequency = <144000000>;
				hactive = <1920>;
				vactive = <1080>;
				hback-porch = <148>;
				hfront-porch = <88>;
				vback-porch = <15>;
				vfront-porch = <2>;
				hsync-len = <44>;
				vsync-len = <5>;
			};
		};
	};
};

&mipi_csi {
	status = "okay";
	ipu_id = <0>;
	csi_id = <1>;
	v_channel = <0>;
	lanes = <2>;
};

&mipi_dsi {
	dev_id = <0>;
	disp_id = <1>;
	lcd_panel = "TRULY-WVGA";
	disp-power-on-supply = <&reg_mipi_dsi_pwr_on>;
	resets = <&mipi_dsi_reset>;
	status = "okay";
};

&pcie {
	power-on-gpio = <&gpio3 19 0>;
	reset-gpio = <&gpio7 12 0>;
	status = "okay";
};

&pwm1 {
	pinctrl-names = "default";
	pinctrl-0 = <&pinctrl_pwm1>;
	status = "okay";
};

&ssi2 {
	fsl,mode = "i2s-slave";
	status = "okay";
};

&uart1 {
	pinctrl-names = "default";
	pinctrl-0 = <&pinctrl_uart1>;
	status = "okay";
};

&uart2 {
	pinctrl-names = "default";
	pinctrl-0 = <&pinctrl_uart2>;
	status = "okay";
};

&uart3 {
	pinctrl-names = "default";
	pinctrl-0 = <&pinctrl_uart3>;
	status = "okay";
};

&uart4 {
	pinctrl-names = "default";
	pinctrl-0 = <&pinctrl_uart4>;
	status = "okay";
};

&uart5 {
	pinctrl-names = "default";
	pinctrl-0 = <&pinctrl_uart5_1>;
	status = "okay";
};

&usbh1 {
	vbus-supply = <&reg_usb_h1_vbus>;
	status = "okay";
};

&usbotg {
	vbus-supply = <&reg_usb_otg_vbus>;
	pinctrl-names = "default";
	pinctrl-0 = <&pinctrl_usbotg>;
	disable-over-current;
	dr_mode = "host";
	status = "okay";
};

&usdhc1 {
	pinctrl-names = "default";
	pinctrl-0 = <&pinctrl_usdhc1>;
	//bus-width = <8>;
	//cd-gpios = <&gpio2 2 0>;
	//wp-gpios = <&gpio2 3 0>;
	no-1-8-v;
	keep-power-in-suspend;
	enable-sdio-wakeup;
	wifi-host;
	status = "okay";
};

&usdhc2 {
	pinctrl-names = "default";
	pinctrl-0 = <&pinctrl_usdhc2>;
	bus-width = <8>;
	cd-gpios = <&gpio2 2 0>;
	wp-gpios = <&gpio2 3 0>;
	no-1-8-v;
	keep-power-in-suspend;
	enable-sdio-wakeup;
	status = "okay";
};

&usdhc3 {
	pinctrl-names = "default";
	pinctrl-0 = <&pinctrl_usdhc3>;
	bus-width = <4>;
	cd-gpios = <&gpio7 12 0>;
	wp-gpios = <&gpio7 13 0>;
	no-1-8-v;
	keep-power-in-suspend;
	enable-sdio-wakeup;
	status = "okay";
};

&usdhc4 {
	pinctrl-names = "default";
	pinctrl-0 = <&pinctrl_usdhc4>;
	bus-width = <8>;
	non-removable;
	no-1-8-v;
	keep-power-in-suspend;
	status = "okay";
};

&wdog1 {
	status = "okay";
};

&wdog2 {
	status = "disabled";
};

&weim {
	pinctrl-names = "default";
	pinctrl-0 = <&pinctrl_weim_cs0 &pinctrl_weim_phy>;
	//interrupt-parent = <&gpio2>;
	//interrupts = <24 0>;
	phy-interrupts-gpios = <&gpio2 24 0>;
	#address-cells = <1>;
	#size-cells = <1>;
	bank-width = <2>;
	//fsl,weim-cs-timing = <0x01010089 0x00000001 0x0C200100
	//                        0x00000008 0xA400840 0x00000000>;
	fsl,weim-cs-timing = <0x00010089 0x00000001 0x09000000
							0x00000008 0x9000000 0x00000000>;	
	phy-reset-gpios = <&gpio3 23 0>;
	status = "okay";
};
